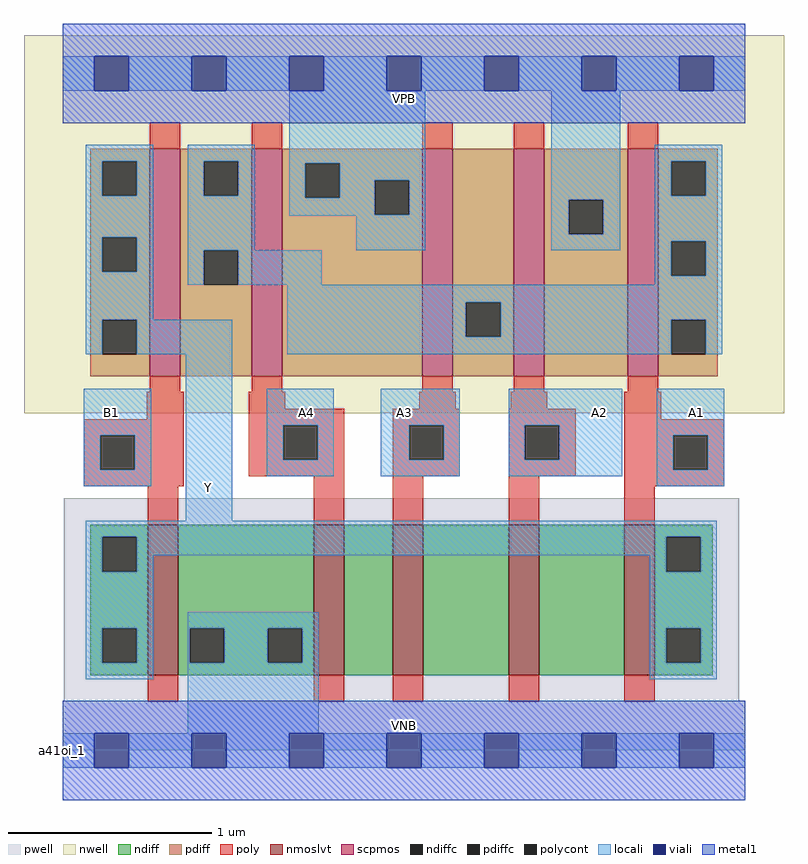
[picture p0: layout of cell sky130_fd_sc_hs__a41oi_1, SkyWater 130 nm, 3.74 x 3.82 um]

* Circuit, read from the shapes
.subckt sky130_fd_sc_hs__a41oi_1 A1 A2 A3 A4 B1 VGND VNB VPB VPWR Y
XM1 VGND B1 Y VNB sky130_fd_pr__nfet_01v8_lvt w=0.74 l=0.15
XM2 n1 A4 VGND VNB sky130_fd_pr__nfet_01v8_lvt w=0.74 l=0.15
XM3 n2 A3 n1 VNB sky130_fd_pr__nfet_01v8_lvt w=0.74 l=0.15
XM4 n3 A2 n2 VNB sky130_fd_pr__nfet_01v8_lvt w=0.74 l=0.15
XM5 Y A1 n3 VNB sky130_fd_pr__nfet_01v8_lvt w=0.74 l=0.15
XM6 n4 B1 Y VPB sky130_fd_pr__pfet_01v8 w=1.12 l=0.15
XM7 VPWR A4 n4 VPB sky130_fd_pr__pfet_01v8 w=1.12 l=0.15
XM8 n4 A3 VPWR VPB sky130_fd_pr__pfet_01v8 w=1.12 l=0.15
XM9 VPWR A2 n4 VPB sky130_fd_pr__pfet_01v8 w=1.12 l=0.15
XM10 n4 A1 VPWR VPB sky130_fd_pr__pfet_01v8 w=1.12 l=0.15
.ends

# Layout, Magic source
magic
tech sky130A
magscale 1 2
<< nwell >>
rect -38 332 710 704
<< pwell >>
rect 1 49 666 248
rect 0 0 672 49
<< scpmos >>
rect 86 368 116 592
rect 186 368 216 592
rect 354 368 384 592
rect 444 368 474 592
rect 556 368 586 592
<< nmoslvt >>
rect 84 74 114 222
rect 247 74 277 222
rect 325 74 355 222
rect 439 74 469 222
rect 553 74 583 222
<< ndiff >>
rect 27 210 84 222
rect 27 176 39 210
rect 73 176 84 210
rect 27 120 84 176
rect 27 86 39 120
rect 73 86 84 120
rect 27 74 84 86
rect 114 120 247 222
rect 114 86 125 120
rect 159 86 202 120
rect 236 86 247 120
rect 114 74 247 86
rect 277 74 325 222
rect 355 74 439 222
rect 469 74 553 222
rect 583 210 640 222
rect 583 176 594 210
rect 628 176 640 210
rect 583 120 640 176
rect 583 86 594 120
rect 628 86 640 120
rect 583 74 640 86
<< pdiff >>
rect 27 580 86 592
rect 27 546 39 580
rect 73 546 86 580
rect 27 505 86 546
rect 27 471 39 505
rect 73 471 86 505
rect 27 424 86 471
rect 27 390 39 424
rect 73 390 86 424
rect 27 368 86 390
rect 116 580 186 592
rect 116 546 139 580
rect 173 546 186 580
rect 116 492 186 546
rect 116 458 139 492
rect 173 458 186 492
rect 116 368 186 458
rect 216 578 354 592
rect 216 544 239 578
rect 273 561 354 578
rect 273 544 307 561
rect 216 527 307 544
rect 341 527 354 561
rect 216 368 354 527
rect 384 441 444 592
rect 384 407 397 441
rect 431 407 444 441
rect 384 368 444 407
rect 474 542 556 592
rect 474 508 498 542
rect 532 508 556 542
rect 474 368 556 508
rect 586 580 645 592
rect 586 546 599 580
rect 633 546 645 580
rect 586 501 645 546
rect 586 467 599 501
rect 633 467 645 501
rect 586 424 645 467
rect 586 390 599 424
rect 633 390 645 424
rect 586 368 645 390
<< ndiffc >>
rect 39 176 73 210
rect 39 86 73 120
rect 125 86 159 120
rect 202 86 236 120
rect 594 176 628 210
rect 594 86 628 120
<< pdiffc >>
rect 39 546 73 580
rect 39 471 73 505
rect 39 390 73 424
rect 139 546 173 580
rect 139 458 173 492
rect 239 544 273 578
rect 307 527 341 561
rect 397 407 431 441
rect 498 508 532 542
rect 599 546 633 580
rect 599 467 633 501
rect 599 390 633 424
<< poly >>
rect 86 592 116 618
rect 186 592 216 618
rect 354 592 384 618
rect 444 592 474 618
rect 556 592 586 618
rect 86 353 116 368
rect 186 353 216 368
rect 354 353 384 368
rect 444 353 474 368
rect 556 353 586 368
rect 83 326 119 353
rect 21 310 119 326
rect 21 276 37 310
rect 71 276 119 310
rect 21 260 119 276
rect 183 336 219 353
rect 351 336 387 353
rect 441 336 477 353
rect 183 320 277 336
rect 183 286 217 320
rect 251 286 277 320
rect 183 270 277 286
rect 84 222 114 260
rect 247 222 277 270
rect 325 320 391 336
rect 325 286 341 320
rect 375 286 391 320
rect 325 270 391 286
rect 439 320 505 336
rect 439 286 455 320
rect 489 286 505 320
rect 439 270 505 286
rect 553 326 589 353
rect 553 310 651 326
rect 553 276 601 310
rect 635 276 651 310
rect 325 222 355 270
rect 439 222 469 270
rect 553 260 651 276
rect 553 222 583 260
rect 84 48 114 74
rect 247 48 277 74
rect 325 48 355 74
rect 439 48 469 74
rect 553 48 583 74
<< polycont >>
rect 37 276 71 310
rect 217 286 251 320
rect 341 286 375 320
rect 455 286 489 320
rect 601 276 635 310
<< locali >>
rect 0 649 31 683
rect 65 649 127 683
rect 161 649 223 683
rect 257 649 319 683
rect 353 649 415 683
rect 449 649 511 683
rect 545 649 607 683
rect 641 649 672 683
rect 23 580 89 596
rect 23 546 39 580
rect 73 546 89 580
rect 23 505 89 546
rect 23 471 39 505
rect 73 471 89 505
rect 23 424 89 471
rect 123 580 189 596
rect 123 546 139 580
rect 173 546 189 580
rect 123 492 189 546
rect 223 578 357 649
rect 223 544 239 578
rect 273 561 357 578
rect 273 544 307 561
rect 223 527 307 544
rect 341 527 357 561
rect 223 526 357 527
rect 289 492 357 526
rect 481 542 549 649
rect 481 508 498 542
rect 532 508 549 542
rect 481 492 549 508
rect 583 580 649 596
rect 583 546 599 580
rect 633 546 649 580
rect 583 501 649 546
rect 123 458 139 492
rect 173 458 255 492
rect 583 467 599 501
rect 633 467 649 501
rect 583 458 649 467
rect 221 441 649 458
rect 23 390 39 424
rect 73 390 167 424
rect 221 407 397 441
rect 431 424 649 441
rect 431 407 599 424
rect 221 390 599 407
rect 633 390 649 424
rect 21 310 87 356
rect 21 276 37 310
rect 71 276 87 310
rect 21 260 87 276
rect 121 226 167 390
rect 201 320 267 356
rect 201 286 217 320
rect 251 286 267 320
rect 201 270 267 286
rect 313 320 391 356
rect 313 286 341 320
rect 375 286 391 320
rect 313 270 391 286
rect 439 320 551 356
rect 439 286 455 320
rect 489 286 551 320
rect 439 270 551 286
rect 585 310 651 356
rect 585 276 601 310
rect 635 276 651 310
rect 585 260 651 276
rect 23 210 644 226
rect 23 176 39 210
rect 73 192 594 210
rect 73 176 89 192
rect 23 120 89 176
rect 578 176 594 192
rect 628 176 644 210
rect 23 86 39 120
rect 73 86 89 120
rect 23 70 89 86
rect 123 120 252 136
rect 123 86 125 120
rect 159 86 202 120
rect 236 86 252 120
rect 123 17 252 86
rect 578 120 644 176
rect 578 86 594 120
rect 628 86 644 120
rect 578 70 644 86
rect 0 -17 31 17
rect 65 -17 127 17
rect 161 -17 223 17
rect 257 -17 319 17
rect 353 -17 415 17
rect 449 -17 511 17
rect 545 -17 607 17
rect 641 -17 672 17
<< viali >>
rect 31 649 65 683
rect 127 649 161 683
rect 223 649 257 683
rect 319 649 353 683
rect 415 649 449 683
rect 511 649 545 683
rect 607 649 641 683
rect 31 -17 65 17
rect 127 -17 161 17
rect 223 -17 257 17
rect 319 -17 353 17
rect 415 -17 449 17
rect 511 -17 545 17
rect 607 -17 641 17
<< metal1 >>
rect 0 683 672 715
rect 0 649 31 683
rect 65 649 127 683
rect 161 649 223 683
rect 257 649 319 683
rect 353 649 415 683
rect 449 649 511 683
rect 545 649 607 683
rect 641 649 672 683
rect 0 617 672 649
rect 0 17 672 49
rect 0 -17 31 17
rect 65 -17 127 17
rect 161 -17 223 17
rect 257 -17 319 17
rect 353 -17 415 17
rect 449 -17 511 17
rect 545 -17 607 17
rect 641 -17 672 17
rect 0 -49 672 -17
<< labels >>
rlabel comment s 0 0 0 0 4 a41oi_1
flabel pwell s 0 0 672 49 0 FreeSans 200 0 0 0 VNB
port 7 nsew ground bidirectional
flabel nwell s 0 617 672 666 0 FreeSans 200 0 0 0 VPB
port 8 nsew power bidirectional
flabel metal1 s 0 617 672 666 0 FreeSans 340 0 0 0 VPWR
port 9 nsew power bidirectional
flabel metal1 s 0 0 672 49 0 FreeSans 340 0 0 0 VGND
port 6 nsew ground bidirectional
flabel locali s 127 242 161 276 0 FreeSans 340 0 0 0 Y
port 10 nsew signal output
flabel locali s 511 316 545 350 0 FreeSans 340 0 0 0 A2
port 2 nsew signal input
flabel locali s 607 316 641 350 0 FreeSans 340 0 0 0 A1
port 1 nsew signal input
flabel locali s 31 316 65 350 0 FreeSans 340 0 0 0 B1
port 5 nsew signal input
flabel locali s 223 316 257 350 0 FreeSans 340 0 0 0 A4
port 4 nsew signal input
flabel locali s 319 316 353 350 0 FreeSans 340 0 0 0 A3
port 3 nsew signal input
<< properties >>
string LEFsite unit
string LEFclass CORE
string FIXED_BBOX 0 0 672 666
string GDS_FILE $PDKPATH/libs.ref/sky130_fd_sc_hs/gds/sky130_fd_sc_hs.gds
string LEFsymmetry X Y
string GDS_END 1270900
string GDS_START 1264914
<< end >>
